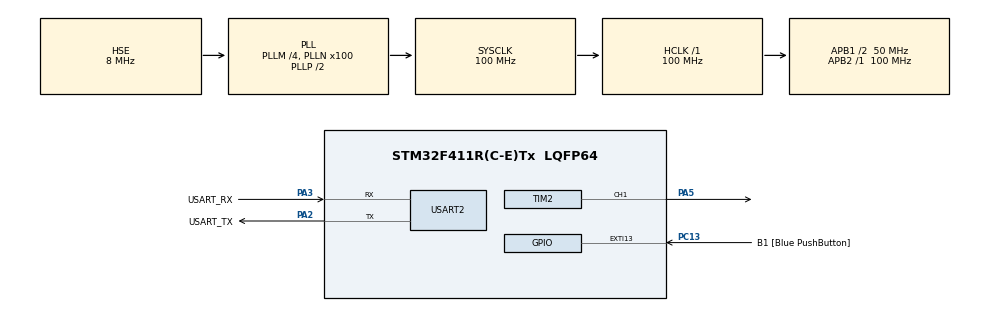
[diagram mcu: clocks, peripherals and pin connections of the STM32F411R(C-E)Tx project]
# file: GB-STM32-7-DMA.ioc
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Dma.Request0=TIM2_CH1
Dma.TIM2_CH1.0.Direction=DMA_MEMORY_TO_PERIPH
Dma.TIM2_CH1.0.FIFOMode=DMA_FIFOMODE_DISABLE
Dma.TIM2_CH1.0.Instance=DMA1_Stream5
Dma.TIM2_CH1.0.MemDataAlignment=DMA_MDATAALIGN_WORD
Dma.TIM2_CH1.0.MemInc=DMA_MINC_ENABLE
Dma.TIM2_CH1.0.Mode=DMA_NORMAL
Dma.TIM2_CH1.0.PeriphDataAlignment=DMA_PDATAALIGN_WORD
Dma.TIM2_CH1.0.PeriphInc=DMA_PINC_DISABLE
Dma.TIM2_CH1.0.Priority=DMA_PRIORITY_LOW
Mcu.Family=STM32F4
Mcu.Name=STM32F411R(C-E)Tx
Mcu.Package=LQFP64
NVIC.DMA1_Stream5_IRQn=true\:0\:0\:false\:false\:true\:false\:true
NVIC.PriorityGroup=NVIC_PRIORITYGROUP_0
PA13.GPIO_Label=TMS
PA13.Mode=Serial_Wire
PA13.Signal=SYS_JTMS-SWDIO
PA14.GPIO_Label=TCK
PA14.Mode=Serial_Wire
PA14.Signal=SYS_JTCK-SWCLK
PA2.GPIO_Label=USART_TX
PA2.Mode=Asynchronous
PA2.Signal=USART2_TX
PA3.GPIO_Label=USART_RX
PA3.Mode=Asynchronous
PA3.Signal=USART2_RX
PA5.Signal=S_TIM2_CH1_ETR
PB3.GPIO_Label=SWO
PB3.Signal=SYS_JTDO-SWO
PC13-ANTI_TAMP.GPIO_Label=B1 [Blue PushButton]
PC13-ANTI_TAMP.GPIO_ModeDefaultEXTI=GPIO_MODE_IT_FALLING
PC13-ANTI_TAMP.Signal=GPXTI13
PC14-OSC32_IN.Mode=LSE-External-Oscillator
PC14-OSC32_IN.Signal=RCC_OSC32_IN
PC15-OSC32_OUT.Mode=LSE-External-Oscillator
PC15-OSC32_OUT.Signal=RCC_OSC32_OUT
PH0\ -\ OSC_IN.Mode=HSE-External-Clock-Source
PH0\ -\ OSC_IN.Signal=RCC_OSC_IN
PH1\ -\ OSC_OUT.Mode=HSE-External-Clock-Source
PH1\ -\ OSC_OUT.Signal=RCC_OSC_OUT
ProjectManager.HeapSize=0x200
ProjectManager.StackSize=0x400
ProjectManager.TargetToolchain=STM32CubeIDE
RCC.48MHZClocksFreq_Value=50000000
RCC.AHBFreq_Value=100000000
RCC.APB1CLKDivider=RCC_HCLK_DIV2
RCC.APB1Freq_Value=50000000
RCC.APB1TimFreq_Value=100000000
RCC.APB2Freq_Value=100000000
RCC.APB2TimFreq_Value=100000000
RCC.CortexFreq_Value=100000000
RCC.EnbaleCSS=true
RCC.FLatency-AdvancedSettings=FLASH_LATENCY_3
RCC.HCLKFreq_Value=100000000
RCC.HSE_VALUE=8000000
RCC.HSI_VALUE=16000000
RCC.PLLM=4
RCC.PLLN=100
RCC.PLLSourceVirtual=RCC_PLLSOURCE_HSE
RCC.SYSCLKFreq_VALUE=100000000
RCC.SYSCLKSource=RCC_SYSCLKSOURCE_PLLCLK
RCC.VCOOutputFreq_Value=200000000
SH.S_TIM2_CH1_ETR.0=TIM2_CH1,PWM Generation1 CH1
TIM2.AutoReloadPreload=TIM_AUTORELOAD_PRELOAD_ENABLE
TIM2.Channel-PWM\ Generation1\ CH1=TIM_CHANNEL_1
TIM2.Period=9999
TIM2.Prescaler=99
USART2.VirtualMode=VM_ASYNC
VP_TIM2_VS_ClockSourceINT.Mode=Internal
board=NUCLEO-F411RE

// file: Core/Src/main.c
/* USER CODE BEGIN Header */
/**
 ******************************************************************************
 * @file           : main.c
 * @brief          : Main program body
 ******************************************************************************
 * @attention
 *
 * <h2><center>&copy; Copyright (c) 2021 STMicroelectronics.
 * All rights reserved.</center></h2>
 *
 * This software component is licensed by ST under BSD 3-Clause license,
 * the "License"; You may not use this file except in compliance with the
 * License. You may obtain a copy of the License at:
 *                        opensource.org/licenses/BSD-3-Clause
 *
 ******************************************************************************
 */
/* USER CODE END Header */
#include "main.h"

TIM_HandleTypeDef htim2;
DMA_HandleTypeDef hdma_tim2_ch1;

UART_HandleTypeDef huart2;

/* USER CODE BEGIN PV */
uint32_t brightness[512] = { 0, 0, 0, 0, 0, 0, 0, 0, 0, 0, 0, 0, 0, 0, 0, 0, 0,
		0, 0, 0, 1, 1, 1, 1, 1, 1, 1, 1, 1, 1, 1, 2, 2, 2, 2, 2, 2, 2, 2, 3, 3,
		3, 3, 3, 3, 4, 4, 4, 4, 4, 5, 5, 5, 5, 5, 6, 6, 6, 7, 7, 7, 7, 8, 8, 8,
		9, 9, 10, 10, 10, 11, 11, 12, 12, 13, 13, 14, 14, 15, 16, 16, 17, 18,
		18, 19, 20, 21, 21, 22, 23, 24, 25, 26, 27, 28, 29, 30, 31, 32, 34, 35,
		36, 38, 39, 41, 42, 44, 45, 47, 49, 51, 53, 55, 57, 59, 61, 63, 66, 68,
		71, 73, 76, 79, 82, 85, 88, 92, 95, 98, 102, 106, 110, 114, 118, 123,
		127, 132, 137, 142, 147, 152, 158, 164, 170, 176, 183, 190, 197, 204,
		211, 219, 227, 236, 244, 253, 263, 272, 282, 293, 304, 315, 326, 338,
		351, 364, 377, 391, 405, 420, 436, 452, 468, 485, 503, 522, 541, 561,
		581, 603, 625, 648, 672, 696, 722, 748, 776, 804, 834, 864, 896, 929,
		963, 998, 1035, 1073, 1112, 1153, 1196, 1239, 1285, 1332, 1381, 1432,
		1484, 1538, 1595, 1653, 1714, 1777, 1842, 1909, 1979, 2052, 2127, 2205,
		2286, 2370, 2457, 2547, 2640, 2737, 2837, 2941, 3049, 3161, 3277, 3397,
		3521, 3650, 3784, 3923, 4066, 4215, 4370, 4530, 4696, 4868, 5047, 5231,
		5423, 5622, 5828, 6041, 6263, 6492, 6730, 6977, 7232, 7497, 7772, 8057,
		8352, 8658, 8975, 9304, 9645, 9645, 9304, 8975, 8658, 8352, 8057, 7772,
		7497, 7232, 6977, 6730, 6492, 6263, 6041, 5828, 5622, 5423, 5231, 5047,
		4868, 4696, 4530, 4370, 4215, 4066, 3923, 3784, 3650, 3521, 3397, 3277,
		3161, 3049, 2941, 2837, 2737, 2640, 2547, 2457, 2370, 2286, 2205, 2127,
		2052, 1979, 1909, 1842, 1777, 1714, 1653, 1595, 1538, 1484, 1432, 1381,
		1332, 1285, 1239, 1196, 1153, 1112, 1073, 1035, 998, 963, 929, 896, 864,
		834, 804, 776, 748, 722, 696, 672, 648, 625, 603, 581, 561, 541, 522,
		503, 485, 468, 452, 436, 420, 405, 391, 377, 364, 351, 338, 326, 315,
		304, 293, 282, 272, 263, 253, 244, 236, 227, 219, 211, 204, 197, 190,
		183, 176, 170, 164, 158, 152, 147, 142, 137, 132, 127, 123, 118, 114,
		110, 106, 102, 98, 95, 92, 88, 85, 82, 79, 76, 73, 71, 68, 66, 63, 61,
		59, 57, 55, 53, 51, 49, 47, 45, 44, 42, 41, 39, 38, 36, 35, 34, 32, 31,
		30, 29, 28, 27, 26, 25, 24, 23, 22, 21, 21, 20, 19, 18, 18, 17, 16, 16,
		15, 14, 14, 13, 13, 12, 12, 11, 11, 10, 10, 10, 9, 9, 8, 8, 8, 7, 7, 7,
		7, 6, 6, 6, 5, 5, 5, 5, 5, 4, 4, 4, 4, 4, 3, 3, 3, 3, 3, 3, 2, 2, 2, 2,
		2, 2, 2, 2, 1, 1, 1, 1, 1, 1, 1, 1, 1, 1, 1, 0, 0, 0, 0, 0, 0, 0, 0, 0,
		0, 0, 0, 0, 0, 0, 0, 0, 0, 0 };
/* USER CODE END PV */

void SystemClock_Config(void);
static void MX_GPIO_Init(void);
static void MX_DMA_Init(void);
static void MX_TIM2_Init(void);
static void MX_USART2_UART_Init(void);

/* USER CODE BEGIN 0 */
void HAL_TIM_PWM_PulseFinishedCallback(TIM_HandleTypeDef *htim) {
	HAL_TIM_PWM_Start_DMA(&htim2, TIM_CHANNEL_1, brightness, 512);
}
/* USER CODE END 0 */

int main(void)
{

  /* MCU Configuration--------------------------------------------------------*/

  /* Reset of all peripherals, Initializes the Flash interface and the Systick. */
  HAL_Init();

  /* Configure the system clock */
  SystemClock_Config();

  /* Initialize all configured peripherals */
  MX_GPIO_Init();
  MX_DMA_Init();
  MX_TIM2_Init();
  MX_USART2_UART_Init();
  /* USER CODE BEGIN 2 */
	HAL_TIM_PWM_Start_DMA(&htim2, TIM_CHANNEL_1, brightness, 512);
  /* USER CODE END 2 */

  /* Infinite loop */
	while (1) {

	}
}

void SystemClock_Config(void)
{
  RCC_OscInitTypeDef RCC_OscInitStruct = {0};
  RCC_ClkInitTypeDef RCC_ClkInitStruct = {0};

  /** Configure the main internal regulator output voltage
  */
  __HAL_RCC_PWR_CLK_ENABLE();
  __HAL_PWR_VOLTAGESCALING_CONFIG(PWR_REGULATOR_VOLTAGE_SCALE1);
  /** Initializes the RCC Oscillators according to the specified parameters
  * in the RCC_OscInitTypeDef structure.
  */
  RCC_OscInitStruct.OscillatorType = RCC_OSCILLATORTYPE_HSE;
  RCC_OscInitStruct.HSEState = RCC_HSE_BYPASS;
  RCC_OscInitStruct.PLL.PLLState = RCC_PLL_ON;
  RCC_OscInitStruct.PLL.PLLSource = RCC_PLLSOURCE_HSE;
  RCC_OscInitStruct.PLL.PLLM = 4;
  RCC_OscInitStruct.PLL.PLLN = 100;
  RCC_OscInitStruct.PLL.PLLP = RCC_PLLP_DIV2;
  RCC_OscInitStruct.PLL.PLLQ = 4;
  if (HAL_RCC_OscConfig(&RCC_OscInitStruct) != HAL_OK)
  {
    Error_Handler();
  }
  /** Initializes the CPU, AHB and APB buses clocks
  */
  RCC_ClkInitStruct.ClockType = RCC_CLOCKTYPE_HCLK|RCC_CLOCKTYPE_SYSCLK
                              |RCC_CLOCKTYPE_PCLK1|RCC_CLOCKTYPE_PCLK2;
  RCC_ClkInitStruct.SYSCLKSource = RCC_SYSCLKSOURCE_PLLCLK;
  RCC_ClkInitStruct.AHBCLKDivider = RCC_SYSCLK_DIV1;
  RCC_ClkInitStruct.APB1CLKDivider = RCC_HCLK_DIV2;
  RCC_ClkInitStruct.APB2CLKDivider = RCC_HCLK_DIV1;

  if (HAL_RCC_ClockConfig(&RCC_ClkInitStruct, FLASH_LATENCY_3) != HAL_OK)
  {
    Error_Handler();
  }
  /** Enables the Clock Security System
  */
  HAL_RCC_EnableCSS();
}

static void MX_TIM2_Init(void)
{

  TIM_ClockConfigTypeDef sClockSourceConfig = {0};
  TIM_MasterConfigTypeDef sMasterConfig = {0};
  TIM_OC_InitTypeDef sConfigOC = {0};

  htim2.Instance = TIM2;
  htim2.Init.Prescaler = 99;
  htim2.Init.CounterMode = TIM_COUNTERMODE_UP;
  htim2.Init.Period = 9999;
  htim2.Init.ClockDivision = TIM_CLOCKDIVISION_DIV1;
  htim2.Init.AutoReloadPreload = TIM_AUTORELOAD_PRELOAD_ENABLE;
  if (HAL_TIM_Base_Init(&htim2) != HAL_OK)
  {
    Error_Handler();
  }
  sClockSourceConfig.ClockSource = TIM_CLOCKSOURCE_INTERNAL;
  if (HAL_TIM_ConfigClockSource(&htim2, &sClockSourceConfig) != HAL_OK)
  {
    Error_Handler();
  }
  if (HAL_TIM_PWM_Init(&htim2) != HAL_OK)
  {
    Error_Handler();
  }
  sMasterConfig.MasterOutputTrigger = TIM_TRGO_RESET;
  sMasterConfig.MasterSlaveMode = TIM_MASTERSLAVEMODE_DISABLE;
  if (HAL_TIMEx_MasterConfigSynchronization(&htim2, &sMasterConfig) != HAL_OK)
  {
    Error_Handler();
  }
  sConfigOC.OCMode = TIM_OCMODE_PWM1;
  sConfigOC.Pulse = 0;
  sConfigOC.OCPolarity = TIM_OCPOLARITY_HIGH;
  sConfigOC.OCFastMode = TIM_OCFAST_DISABLE;
  if (HAL_TIM_PWM_ConfigChannel(&htim2, &sConfigOC, TIM_CHANNEL_1) != HAL_OK)
  {
    Error_Handler();
  }
  HAL_TIM_MspPostInit(&htim2);

}

static void MX_USART2_UART_Init(void)
{

  huart2.Instance = USART2;
  huart2.Init.BaudRate = 115200;
  huart2.Init.WordLength = UART_WORDLENGTH_8B;
  huart2.Init.StopBits = UART_STOPBITS_1;
  huart2.Init.Parity = UART_PARITY_NONE;
  huart2.Init.Mode = UART_MODE_TX_RX;
  huart2.Init.HwFlowCtl = UART_HWCONTROL_NONE;
  huart2.Init.OverSampling = UART_OVERSAMPLING_16;
  if (HAL_UART_Init(&huart2) != HAL_OK)
  {
    Error_Handler();
  }

}

static void MX_DMA_Init(void)
{

  /* DMA controller clock enable */
  __HAL_RCC_DMA1_CLK_ENABLE();

  /* DMA interrupt init */
  /* DMA1_Stream5_IRQn interrupt configuration */
  HAL_NVIC_SetPriority(DMA1_Stream5_IRQn, 0, 0);
  HAL_NVIC_EnableIRQ(DMA1_Stream5_IRQn);

}

static void MX_GPIO_Init(void)
{
  GPIO_InitTypeDef GPIO_InitStruct = {0};

  /* GPIO Ports Clock Enable */
  __HAL_RCC_GPIOC_CLK_ENABLE();
  __HAL_RCC_GPIOH_CLK_ENABLE();
  __HAL_RCC_GPIOA_CLK_ENABLE();
  __HAL_RCC_GPIOB_CLK_ENABLE();

  /*Configure GPIO pin : B1_Pin */
  GPIO_InitStruct.Pin = B1_Pin;
  GPIO_InitStruct.Mode = GPIO_MODE_IT_FALLING;
  GPIO_InitStruct.Pull = GPIO_NOPULL;
  HAL_GPIO_Init(B1_GPIO_Port, &GPIO_InitStruct);

}

void Error_Handler(void)
{
	__disable_irq();
	while (1) {
	}
}

/************************ (C) COPYRIGHT STMicroelectronics *****END OF FILE****/
